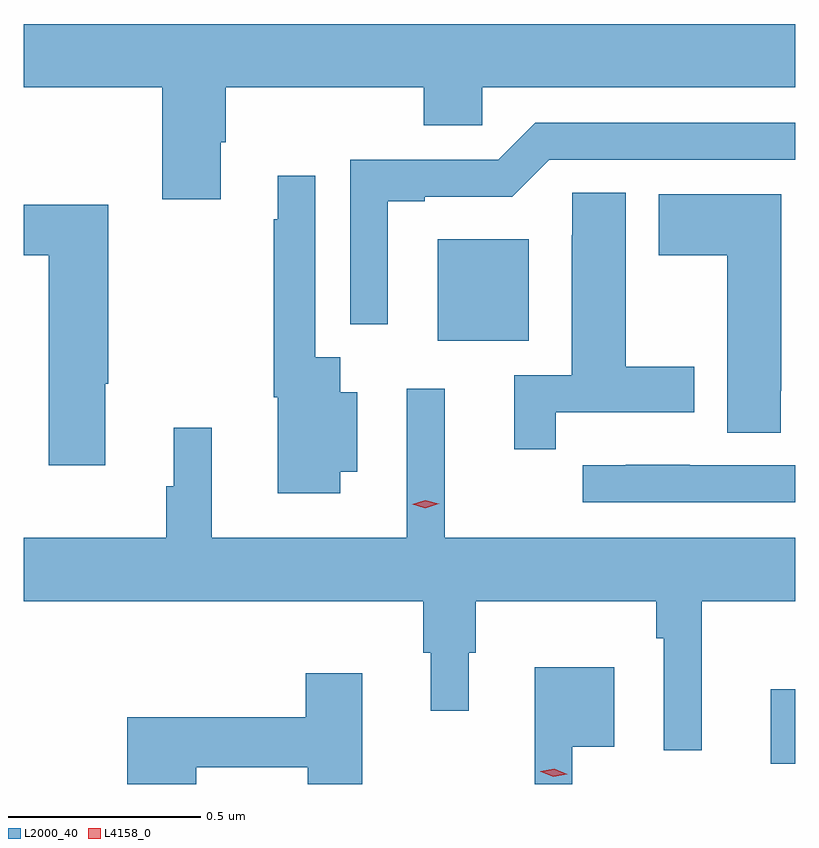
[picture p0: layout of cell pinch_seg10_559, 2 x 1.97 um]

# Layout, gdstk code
import gdstk
lib = gdstk.Library(unit=1e-6, precision=1e-09)
def R(c, l, rs):  # rectangles x0, y0, x1, y1
    for r in rs: c.add(gdstk.rectangle(r[:2], r[2:], *l))
def P(c, l, *ps):  # polygons
    for p in ps: c.add(gdstk.Polygon(p, *l))
L2000_40 = (2000, 40)
L4158_0 = (4158, 0)

pinch_seg10_559 = lib.new_cell('pinch_seg10_559')
R(pinch_seg10_559, L2000_40, [(145.244,1287.906,145.307,1288.099), (144.38,1289.003,144.616,1289.266)])
P(pinch_seg10_559, L2000_40, [(143.818,1289.518),(143.831,1289.518),(143.831,1289.66),(144.344,1289.66),(144.344,1289.562),(144.495,1289.562),(144.495,1289.66),(145.307,1289.66),(145.307,1289.824),(143.307,1289.824),(143.307,1289.66),(143.666,1289.66),(143.666,1289.37),(143.818,1289.37)],
  [(144.25,1289.364),(144.346,1289.364),(144.346,1289.376),(144.573,1289.376),(144.669,1289.472),(145.307,1289.472),(145.307,1289.568),(144.633,1289.568),(144.537,1289.472),(144.153,1289.472),(144.153,1289.046),(144.25,1289.046)],
  [(144.127,1288.664),(144.172,1288.664),(144.172,1288.87),(144.127,1288.87),(144.127,1288.96),(144.063,1288.96),(144.063,1289.431),(143.966,1289.431),(143.966,1289.318),(143.955,1289.318),(143.955,1288.856),(143.966,1288.856),(143.966,1288.608),(144.127,1288.608)],
  [(144.686,1288.818),(145.045,1288.818),(145.045,1288.935),(144.868,1288.935),(144.868,1289.387),(144.729,1289.387),(144.729,1289.276),(144.728,1289.276),(144.728,1288.914),(144.578,1288.914),(144.578,1288.722),(144.686,1288.722)],
  [(145.269,1288.873),(145.27,1288.873),(145.27,1289.383),(144.953,1289.383),(144.953,1289.224),(145.13,1289.224),(145.13,1288.765),(145.269,1288.765)],
  [(143.518,1288.892),(143.526,1288.892),(143.526,1289.355),(143.307,1289.355),(143.307,1289.225),(143.372,1289.225),(143.372,1288.68),(143.518,1288.68)],
  [(145.064,1288.328),(145.307,1288.328),(145.307,1288.492),(144.398,1288.492),(144.398,1288.879),(144.3,1288.879),(144.3,1288.492),(143.794,1288.492),(143.794,1288.777),(143.696,1288.777),(143.696,1288.626),(143.677,1288.626),(143.677,1288.492),(143.307,1288.492),(143.307,1288.328),(144.343,1288.328),(144.343,1288.194),(144.362,1288.194),(144.362,1288.044),(144.46,1288.044),(144.46,1288.194),(144.479,1288.194),(144.479,1288.328),(144.946,1288.328),(144.946,1288.232),(144.966,1288.232),(144.966,1287.942),(145.064,1287.942)],
  [(145.307,1288.68),(145.034,1288.68),(145.034,1288.681),(144.868,1288.681),(144.868,1288.68),(144.756,1288.68),(144.756,1288.584),(145.307,1288.584)],
  [(144.729,1287.95),(144.838,1287.95),(144.838,1288.156),(144.632,1288.156),(144.632,1287.854),(144.729,1287.854)],
  [(143.754,1287.898),(144.043,1287.898),(144.043,1287.854),(144.184,1287.854),(144.184,1288.141),(144.038,1288.141),(144.038,1288.027),(143.576,1288.027),(143.576,1287.854),(143.754,1287.854)])
P(pinch_seg10_559, L4158_0, [(144.68,1287.873),(144.647,1287.886),(144.646,1287.886),(144.647,1287.887),(144.682,1287.893),(144.716,1287.879),(144.716,1287.879),(144.716,1287.879)],
  [(144.348,1288.569),(144.314,1288.579),(144.313,1288.579),(144.314,1288.579),(144.348,1288.589),(144.383,1288.58),(144.384,1288.58),(144.383,1288.58)])

lib.write_gds('pinch_seg10_559.gds')
